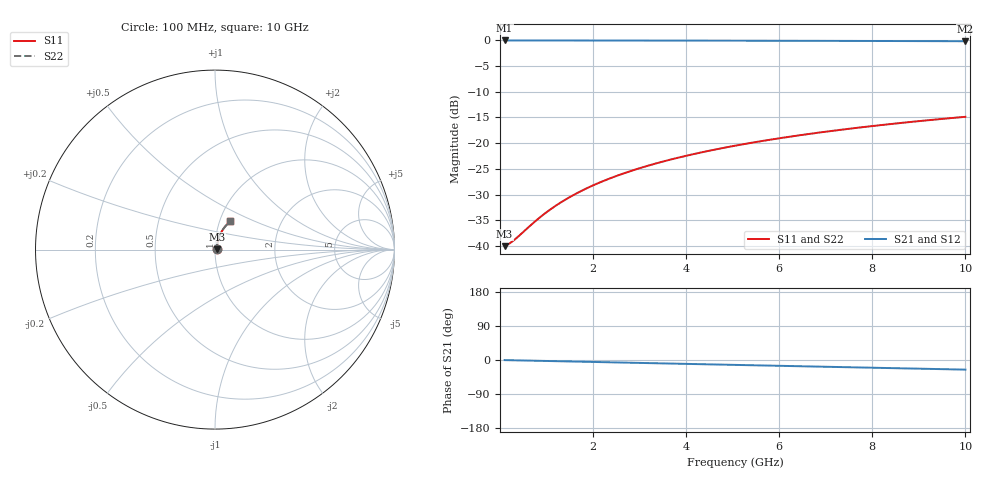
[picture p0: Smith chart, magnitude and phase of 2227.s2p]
# Hz S RI R 50.00
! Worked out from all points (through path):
!   100 points, 100 MHz to 10 GHz, reference 50 ohm
!   highest |S21| = -0.09 dB at 100 MHz (marker M1); lowest = -0.2 dB at 10 GHz (marker M2)
!   group delay of S21, straight-line fit = 7.06 ps
!   lowest |S11| = -40.0 dB at 100 MHz (marker M3), VSWR 1.02, Z = 51 + j0.187 ohm
!   |S11| at or under -10 dB: start of sweep to end of sweep
!   |S22| runs from -40.0 to -14.9 dB; largest |S21 - S12| = 0
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1e8  0.00981 0.00183  0.9902 -0.00443  0.9902 -0.00443  0.00981 0.00183
2e8  0.00989 0.00366  0.9901 -0.00886  0.9901 -0.00886  0.00989 0.00366
3e8  0.00998 0.00549  0.99 -0.0133  0.99 -0.0133  0.00998 0.00549
8e8  0.0106 0.0146  0.9892 -0.0354  0.9892 -0.0354  0.0106 0.0146
9e8  0.0107 0.0165  0.989 -0.0398  0.989 -0.0398  0.0107 0.0165
1.1e9  0.0111 0.0201  0.9885 -0.0487  0.9885 -0.0487  0.0111 0.0201
1.4e9  0.0118 0.0255  0.9875 -0.0619  0.9875 -0.0619  0.0118 0.0255
1.6e9  0.0123 0.0292  0.9868 -0.0707  0.9868 -0.0707  0.0123 0.0292
1.8e9  0.0129 0.0328  0.986 -0.0795  0.986 -0.0795  0.0129 0.0328
2.1e9  0.0139 0.0382  0.9846 -0.0927  0.9846 -0.0927  0.0139 0.0382
2.5e9  0.0154 0.0453  0.9824 -0.1103  0.9824 -0.1103  0.0154 0.0453
2.9e9  0.0172 0.0524  0.9799 -0.1277  0.9799 -0.1277  0.0172 0.0524
3.4e9  0.0198 0.0611  0.9762 -0.1495  0.9762 -0.1495  0.0198 0.0611
3.8e9  0.0221 0.068  0.9729 -0.1667  0.9729 -0.1667  0.0221 0.068
4.2e9  0.0247 0.0748  0.9692 -0.1839  0.9692 -0.1839  0.0247 0.0748
4.6e9  0.0276 0.0815  0.9651 -0.201  0.9651 -0.201  0.0276 0.0815
5.1e9  0.0314 0.0897  0.9596 -0.2222  0.9596 -0.2222  0.0314 0.0897
5.9e9  0.0383 0.1025  0.9497 -0.2557  0.9497 -0.2557  0.0383 0.1025
6.7e9  0.0461 0.1146  0.9384 -0.2886  0.9384 -0.2886  0.0461 0.1146
7.5e9  0.0547 0.1262  0.9259 -0.3209  0.9259 -0.3209  0.0547 0.1262
8.4e9  0.0653 0.1384  0.9104 -0.3564  0.9104 -0.3564  0.0653 0.1384
1e10  0.0862 0.1577  0.8792 -0.4171  0.8792 -0.4171  0.0862 0.1577
